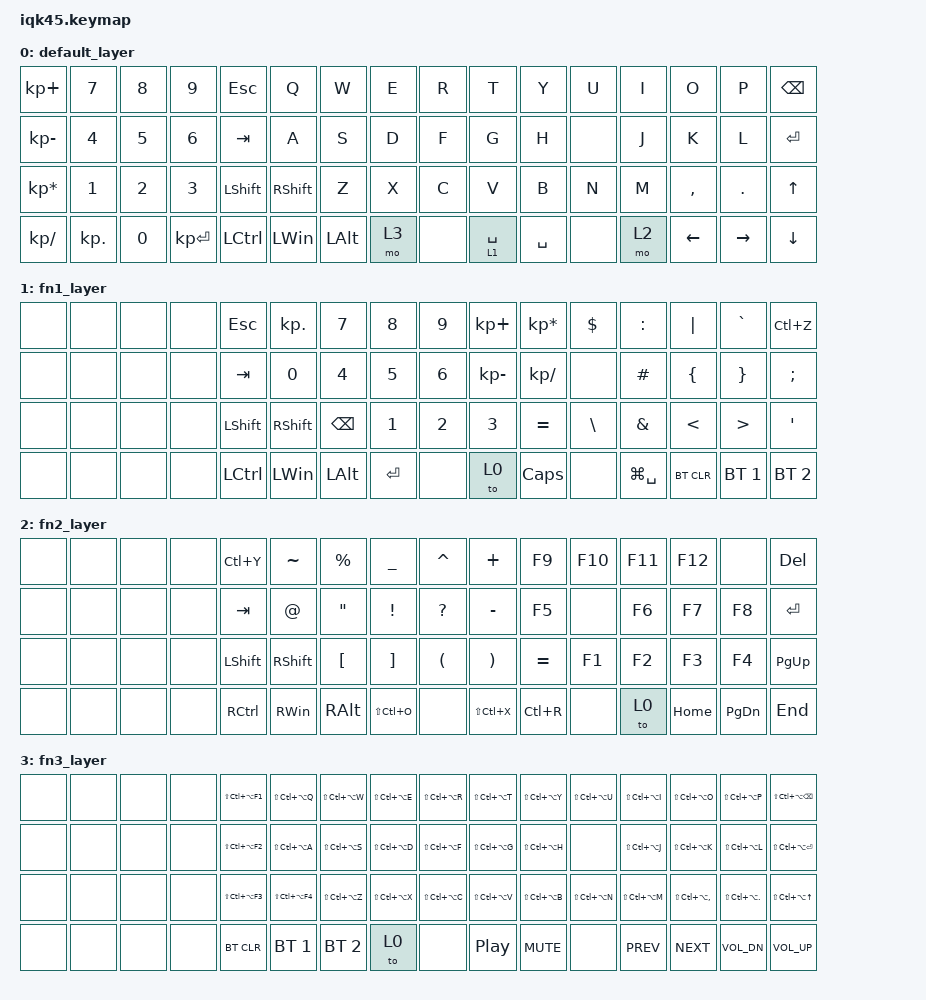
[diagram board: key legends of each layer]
/*
 * Copyright (c) 2020 The ZMK Contributors
 *
 * SPDX-License-Identifier: MIT
 */

#include <behaviors.dtsi>
#include <dt-bindings/zmk/keys.h>
#include <dt-bindings/zmk/rgb.h>
#include <dt-bindings/zmk/bt.h>
#include <dt-bindings/zmk/outputs.h>
#include <dt-bindings/zmk/ext_power.h>
#include <dt-bindings/zmk/mouse.h>

/ {
	keymap0: keymap {
		compatible = "zmk,keymap";

		default_layer {
            bindings = <
            &kp KP_PLUS      &kp N7     &kp N8    &kp N9       &kp ESC   &kp Q     &kp W     &kp E               &kp R        &kp T        &kp Y       &kp U               &kp I     &kp O      &kp P      &kp BSPC
            &kp KP_MINUS     &kp N4     &kp N5    &kp N6       &kp TAB   &kp A     &kp S     &kp D               &kp F        &kp G        &kp H       &none               &kp J     &kp K      &kp L      &kp ENTER 
            &kp KP_MULTIPLY  &kp N1     &kp N2    &kp N3       &kp LSHFT &kp RSHFT &kp Z     &kp X               &kp C        &kp V        &kp B       &kp N               &kp M     &kp COMMA  &kp DOT    &kp UP
            &kp KP_SLASH     &kp KP_DOT &kp N0    &kp KP_ENTER &kp LCTRL &kp LWIN  &kp LALT  &mo 3               &none        &lt 1 SPACE  &kp SPACE   &none               &mo 2     &kp LEFT   &kp RIGHT  &kp DOWN    
            >;
		};

		fn1_layer {
            bindings = <
            &none   &none   &none   &none   &kp ESC   &kp KP_DOT &kp N7    &kp N8             &kp N9  &kp KP_PLUS   &kp KP_MULTIPLY  &kp DLLR           &kp COLON     &kp PIPE     &kp GRAVE     &kp LC(Z)
            &none   &none   &none   &none   &kp TAB   &kp N0     &kp N4    &kp N5             &kp N6  &kp KP_MINUS  &kp KP_SLASH     &none              &kp HASH      &kp LBRC     &kp RBRC      &kp SEMI  
            &none   &none   &none   &none   &kp LSHFT &kp RSHFT  &kp BSPC  &kp N1             &kp N2  &kp N3        &kp EQUAL        &kp BSLH           &kp AMPS      &kp LT       &kp GT        &kp SQT
            &none   &none   &none   &none   &kp LCTRL &kp LWIN   &kp LALT  &kp ENTER          &none   &to 0         &kp CAPS         &none              &kp LG(SPACE) &bt BT_CLR   &bt BT_SEL 1  &bt BT_SEL 2
             >;
		};

		fn2_layer {
            bindings = <
            &none   &none   &none   &none   &kp LC(Y)  &kp TILDE  &kp PRCNT &kp UNDER         &kp CARET    &kp PLUS       &kp F9     &kp F10            &kp F11    &kp F12   &none      &kp DEL
            &none   &none   &none   &none   &kp TAB    &kp AT     &kp DQT   &kp EXCL          &kp QMARK    &kp MINUS      &kp F5     &none              &kp F6     &kp F7    &kp F8     &kp ENTER
            &none   &none   &none   &none   &kp LSHFT  &kp RSHFT  &kp LBKT  &kp RBKT          &kp LPAR     &kp RPAR       &kp EQUAL  &kp F1             &kp F2     &kp F3    &kp F4     &kp PG_UP  
            &none   &none   &none   &none   &kp RCTRL  &kp RWIN   &kp RALT  &kp LS(LC(O))     &none        &kp LS(LC(X))  &kp LC(R)  &none              &to 0      &kp HOME  &kp PG_DN  &kp END
            >;
		};

		fn3_layer {
            bindings = <
            &none   &none   &none   &none   &kp LS(LC(LA(F1)))  &kp LS(LC(LA(Q)))  &kp LS(LC(LA(W)))  &kp LS(LC(LA(E)))      &kp LS(LC(LA(R)))  &kp LS(LC(LA(T)))   &kp LS(LC(LA(Y)))  &kp LS(LC(LA(U)))       &kp LS(LC(LA(I)))  &kp LS(LC(LA(O)))     &kp LS(LC(LA(P)))     &kp LS(LC(LA(BSPC)))   
            &none   &none   &none   &none   &kp LS(LC(LA(F2)))  &kp LS(LC(LA(A)))  &kp LS(LC(LA(S)))  &kp LS(LC(LA(D)))      &kp LS(LC(LA(F)))  &kp LS(LC(LA(G)))   &kp LS(LC(LA(H)))  &none                   &kp LS(LC(LA(J)))  &kp LS(LC(LA(K)))     &kp LS(LC(LA(L)))     &kp LS(LC(LA(ENTER)))     
            &none   &none   &none   &none   &kp LS(LC(LA(F3)))  &kp LS(LC(LA(F4))) &kp LS(LC(LA(Z)))  &kp LS(LC(LA(X)))      &kp LS(LC(LA(C)))  &kp LS(LC(LA(V)))   &kp LS(LC(LA(B)))  &kp LS(LC(LA(N)))       &kp LS(LC(LA(M)))  &kp LS(LC(LA(COMMA))) &kp LS(LC(LA(DOT)))   &kp LS(LC(LA(UP)))     
            &none   &none   &none   &none   &bt BT_CLR          &bt BT_SEL 1       &bt BT_SEL 2       &to 0                  &none              &kp C_PP            &kp C_MUTE         &none                   &kp C_PREV         &kp C_NEXT            &kp C_VOL_DN          &kp C_VOL_UP    
            >;
		};
	};
};
